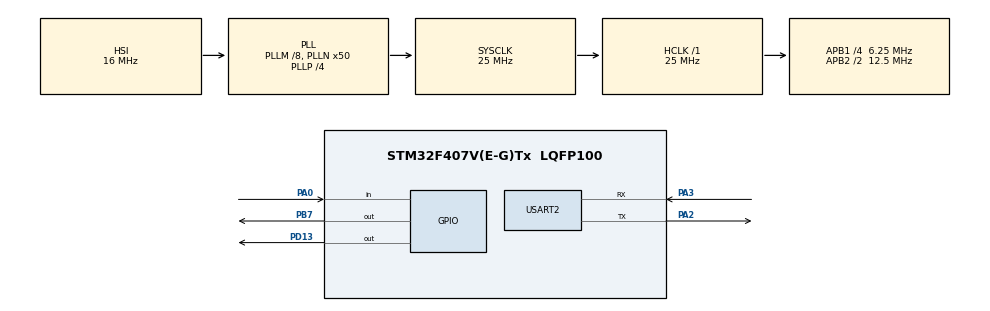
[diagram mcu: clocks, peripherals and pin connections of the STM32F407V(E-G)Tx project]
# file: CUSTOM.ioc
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Mcu.Family=STM32F4
Mcu.Name=STM32F407V(E-G)Tx
Mcu.Package=LQFP100
NVIC.PriorityGroup=NVIC_PRIORITYGROUP_0
PA0-WKUP.Signal=GPIO_Input
PA2.Mode=Asynchronous
PA2.Signal=USART2_TX
PA3.Mode=Asynchronous
PA3.Signal=USART2_RX
PB7.Signal=GPIO_Output
PD13.Signal=GPIO_Output
ProjectManager.HeapSize=0x200
ProjectManager.StackSize=0x400
ProjectManager.TargetToolchain=STM32CubeIDE
RCC.48MHZClocksFreq_Value=14285714.285714285
RCC.AHBFreq_Value=25000000
RCC.APB1CLKDivider=RCC_HCLK_DIV4
RCC.APB1Freq_Value=6250000
RCC.APB1TimFreq_Value=12500000
RCC.APB2CLKDivider=RCC_HCLK_DIV2
RCC.APB2Freq_Value=12500000
RCC.APB2TimFreq_Value=25000000
RCC.CortexFreq_Value=25000000
RCC.HCLKFreq_Value=25000000
RCC.HSE_VALUE=8000000
RCC.HSI_VALUE=16000000
RCC.LSE_VALUE=32768
RCC.PLLM=8
RCC.PLLN=50
RCC.PLLP=RCC_PLLP_DIV4
RCC.PLLQ=7
RCC.SYSCLKFreq_VALUE=25000000
RCC.SYSCLKSource=RCC_SYSCLKSOURCE_PLLCLK
RCC.VCOOutputFreq_Value=100000000
USART2.VirtualMode=VM_ASYNC
board=STM32F407G-DISC1

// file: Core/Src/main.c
/* USER CODE BEGIN Header */
/**
  ******************************************************************************
  * @file           : main.c
  * @brief          : Main program body
  ******************************************************************************
  * @attention
  *
  * Copyright (c) 2026 STMicroelectronics.
  * All rights reserved.
  *
  * This software is licensed under terms that can be found in the LICENSE file
  * in the root directory of this software component.
  * If no LICENSE file comes with this software, it is provided AS-IS.
  *
  ******************************************************************************
  */
/* USER CODE END Header */
#include "main.h"
#include "usart.h"
#include "gpio.h"
#include "aes.h"
#include <string.h>

/* USER CODE BEGIN Includes */

// Python tarafındaki KEY ve IV ile birebir aynı olmalı!

#define ACK  0x06
#define NACK 0x15
#define APP_ADDRESS 0x08008000
#define PACKET_SIZE 128
/* USER CODE END Includes */

/* USER CODE BEGIN PTD */
// Tırnak yerine süslü parantez kullanarak null-terminator riskini yok et
/* main.c içinde - Tırnak kullanmadan ham byte olarak tanımlayalım */
// main.c içinde
uint8_t AES_KEY[32] = {
    0x31, 0x32, 0x33, 0x34, 0x35, 0x36, 0x37, 0x38, 0x39, 0x30, // 1234567890
    0x31, 0x32, 0x33, 0x34, 0x35, 0x36, 0x37, 0x38, 0x39, 0x30, // 1234567890
    0x31, 0x32, 0x33, 0x34, 0x35, 0x36, 0x37, 0x38, 0x39, 0x30, // 1234567890
    0x31, 0x32  // 12
};

uint8_t AES_IV[16] = {
    0x61, 0x62, 0x63, 0x64, 0x65, 0x66, 0x67, 0x68, // abcdefgh
    0x69, 0x6a, 0x6b, 0x6c, 0x6d, 0x6e, 0x6f, 0x70  // ijklmnop
};
/* USER CODE END PTD */

/* USER CODE BEGIN PD */
void Bootloader_Menu(void);
void Bootloader_Handle_Secure_Write(void);
void Flash_Erase_Application(void);
void jump_to_application(void);
uint16_t Compute_CRC16(uint8_t *data, uint16_t length);
/* USER CODE END PD */

void SystemClock_Config(void);
/* USER CODE BEGIN PFP */

uint16_t Compute_CRC16(uint8_t *data, uint16_t length);

/* USER CODE END PFP */

/* USER CODE BEGIN 0 */
/* --- BOOTLOADER MANTIĞI --- */
void Bootloader_Menu(void) {
    uint8_t rx_byte;
    char *msg = "\r\n--- STM32 Bootloader Beklemede ---\r\n'W' tuşuna basarak yazılımı gönderin...\r\n";

    HAL_GPIO_WritePin(GPIOB, GPIO_PIN_7, GPIO_PIN_SET); // Turuncu LED: Bootloader Aktif
    HAL_UART_Transmit(&huart2, (uint8_t*)msg, strlen(msg), 100);

    while(1) {
        if (HAL_UART_Receive(&huart2, &rx_byte, 1, HAL_MAX_DELAY) == HAL_OK) {
        	/* main.c - Bootloader_Menu Fonksiyonu İçinde */
        	if (rx_byte == 'W' || rx_byte == 'w') {
        	    // ESKİ: Bootloader_Handle_Write(); -> Bunu sil
        	    Bootloader_Handle_Secure_Write(); // YENİ: Güvenli versiyonu çağır
        	}
            }
        }
    }

/* --- FLASH SİLME FONKSİYONU --- */
void Flash_Erase_Application(void) {
    HAL_FLASH_Unlock();
    FLASH_EraseInitTypeDef EraseInitStruct;
    uint32_t SectorError;

    EraseInitStruct.TypeErase = FLASH_TYPEERASE_SECTORS;
    EraseInitStruct.VoltageRange = FLASH_VOLTAGE_RANGE_3;
    EraseInitStruct.Sector = FLASH_SECTOR_2; // Sektör 2 (0x08008000)
    EraseInitStruct.NbSectors = 6;           // Uygulama alanını kapsayan sektörleri sil

    if (HAL_FLASHEx_Erase(&EraseInitStruct, &SectorError) != HAL_OK) {
        // Hata durumunda NACK gönderilebilir
    }
    HAL_FLASH_Lock();
}
/**
 * @brief AES-256 Şifreli ve CRC-16 Korumalı Yazılım Güncelleme
 * Bu fonksiyon her paketi çözer, doğrular ve Flash belleğe yazar.
 */
void Bootloader_Handle_Secure_Write(void) {
    uint8_t rx_buffer[130];        // 128 Byte Şifreli Veri + 2 Byte CRC
    uint32_t current_addr = APP_ADDRESS; // 0x08008000
    struct AES_ctx ctx;
    uint8_t ack = ACK;             // 0x06
    uint8_t nack = NACK;           // 0x15

    // 1. ADIM: Uygulama alanını temizle
    Flash_Erase_Application();

    // 2. ADIM: Python'a "Hazırım, gönder" onayı ver
    HAL_UART_Transmit(&huart2, &ack, 1, 10);

    while(1) {
        // 3. ADIM: Paketi bekle (Timeout süresini 10sn yaparak senkronizasyonu koru)
        HAL_StatusTypeDef status = HAL_UART_Receive(&huart2, rx_buffer, 130, 10000);

        if (status == HAL_OK) {
            // 4. ADIM: CRC-16 Kontrolü (Veri yolda bozuldu mu?)
            uint16_t received_crc = *(uint16_t*)(&rx_buffer[128]);
            if (Compute_CRC16(rx_buffer, 128) != received_crc) {
                HAL_UART_Transmit(&huart2, &nack, 1, 10);
                continue; // Paketi tekrar bekle
            }

            // 5. ADIM: AES-256 Şifre Çözme (CBC Modu)
            // Her paket başında IV resetleyerek Python ile senkron kalınır.
            AES_init_ctx_iv(&ctx, AES_KEY, AES_IV);
            AES_CBC_decrypt_buffer(&ctx, rx_buffer, 128);

            // 6. ADIM: MSP Doğrulaması (Sadece ilk paket için)
            if (current_addr == APP_ADDRESS) {
                uint32_t msp_val = *(uint32_t*)rx_buffer;
                // STM32F4 için MSP 0x2000xxxx (RAM) olmalıdır
                if ((msp_val & 0xFFF00000) != 0x20000000) {
                    // Teşhis için ilk 4 byte'ı geri gönder ve işlemi bitir
                    HAL_UART_Transmit(&huart2, rx_buffer, 4, 100);
                    HAL_UART_Transmit(&huart2, &nack, 1, 10);
                    return;
                }
            }

            // 7. ADIM: Flash Belleğe Yazma (4'er byte - Word)
            HAL_FLASH_Unlock();
            for (int i = 0; i < 128; i += 4) {
                uint32_t data = *(uint32_t*)(&rx_buffer[i]);
                if (HAL_FLASH_Program(FLASH_TYPEPROGRAM_WORD, current_addr, data) == HAL_OK) {
                    current_addr += 4;
                }
            }
            HAL_FLASH_Lock();

            // 8. ADIM: Onay (ACK) gönder ve sonraki pakete geç
            HAL_UART_Transmit(&huart2, &ack, 1, 10);
        }
        else if (status == HAL_TIMEOUT) {
            // Veri akışı bitti, uygulamaya zıpla
            jump_to_application();
            break;
        }
    }
}
/* --- UART VERİ ALMA VE FLASH'A YAZMA --- */

/* --- UYGULAMAYA ZIPLAMA (JUMP) --- */
void jump_to_application(void) {
    uint32_t jump_addr = *(uint32_t*)(APP_ADDRESS + 4);
    void (*app_reset_handler)(void) = (void (*)(void))jump_addr;

    __disable_irq(); // Kesmeleri kapat
    HAL_RCC_DeInit();
    HAL_DeInit();
    SysTick->CTRL = 0;

    __set_MSP(*(uint32_t*)APP_ADDRESS); // MSP ayarla
    app_reset_handler(); // Uygulama başlasın!
}

typedef struct {
    uint8_t  sof;        // Start of Frame (0xAA)
    uint8_t  command;    // Komut tipi
    uint16_t length;     // Veri uzunluğu
    uint8_t  data[1024]; // Veri (Maksimum 1KB)
    uint32_t crc;        // Hata kontrolü
} Bootloader_Packet_t;

/* USER CODE END 0 */

int main(void)
{

  /* USER CODE BEGIN 1 */
	    HAL_Init();
	    SystemClock_Config();
	    MX_GPIO_Init();
	    MX_USART2_UART_Init();
	    SCB->VTOR = 0x08000000;
  /* USER CODE END 1 */

  /* MCU Configuration--------------------------------------------------------*/

  /* Reset of all peripherals, Initializes the Flash interface and the Systick. */
  HAL_Init();

  /* USER CODE BEGIN Init */

  // Mavi butona basılıyor mu? (Discovery kartında genelde GPIO_PIN_0)
  if (HAL_GPIO_ReadPin(GPIOA, GPIO_PIN_0) == GPIO_PIN_SET)
  {
      // Butona basılıyor: Bootloader'da kal!
      // Burada örneğin Turuncu LED'i yak ve UART ile yeni kod bekleyen fonksiyonu çağır
      Bootloader_Menu();
  }
  else
  {
      // Butona basılmıyor: Direkt uygulamaya git!
      jump_to_application();
  }
  /* USER CODE END Init */

  /* Configure the system clock */
  SystemClock_Config();

  /* Initialize all configured peripherals */
  MX_GPIO_Init();
  MX_USART2_UART_Init();

  /* Infinite loop */
  while (1)
  {

  }
}

void SystemClock_Config(void)
{
  RCC_OscInitTypeDef RCC_OscInitStruct = {0};
  RCC_ClkInitTypeDef RCC_ClkInitStruct = {0};

  /** Configure the main internal regulator output voltage
  */
  __HAL_RCC_PWR_CLK_ENABLE();
  __HAL_PWR_VOLTAGESCALING_CONFIG(PWR_REGULATOR_VOLTAGE_SCALE1);

  /** Initializes the RCC Oscillators according to the specified parameters
  * in the RCC_OscInitTypeDef structure.
  */
  RCC_OscInitStruct.OscillatorType = RCC_OSCILLATORTYPE_HSI;
  RCC_OscInitStruct.HSIState = RCC_HSI_ON;
  RCC_OscInitStruct.HSICalibrationValue = RCC_HSICALIBRATION_DEFAULT;
  RCC_OscInitStruct.PLL.PLLState = RCC_PLL_ON;
  RCC_OscInitStruct.PLL.PLLSource = RCC_PLLSOURCE_HSI;
  RCC_OscInitStruct.PLL.PLLM = 8;
  RCC_OscInitStruct.PLL.PLLN = 50;
  RCC_OscInitStruct.PLL.PLLP = RCC_PLLP_DIV4;
  RCC_OscInitStruct.PLL.PLLQ = 7;
  if (HAL_RCC_OscConfig(&RCC_OscInitStruct) != HAL_OK)
  {
    Error_Handler();
  }

  /** Initializes the CPU, AHB and APB buses clocks
  */
  RCC_ClkInitStruct.ClockType = RCC_CLOCKTYPE_HCLK|RCC_CLOCKTYPE_SYSCLK
                              |RCC_CLOCKTYPE_PCLK1|RCC_CLOCKTYPE_PCLK2;
  RCC_ClkInitStruct.SYSCLKSource = RCC_SYSCLKSOURCE_PLLCLK;
  RCC_ClkInitStruct.AHBCLKDivider = RCC_SYSCLK_DIV1;
  RCC_ClkInitStruct.APB1CLKDivider = RCC_HCLK_DIV4;
  RCC_ClkInitStruct.APB2CLKDivider = RCC_HCLK_DIV2;

  if (HAL_RCC_ClockConfig(&RCC_ClkInitStruct, FLASH_LATENCY_0) != HAL_OK)
  {
    Error_Handler();
  }
}

/* USER CODE BEGIN 4 */
uint16_t Compute_CRC16(uint8_t *data, uint16_t length) {
    uint16_t crc = 0xFFFF; // Başlangıç değeri

    for (uint16_t i = 0; i < length; i++) {
        crc ^= (uint16_t)data[i]; // Mevcut byte'ı CRC ile XOR'la

        for (uint8_t j = 0; j < 8; j++) {
            if (crc & 0x0001) {
                crc = (crc >> 1) ^ 0xA001; // En önemsiz bit 1 ise polinomla XOR'la
            } else {
                crc >>= 1; // Değilse sadece sağa kaydır
            }
        }
    }
    return crc;
}
/* USER CODE END 4 */

void Error_Handler(void)
{
  __disable_irq();
  while (1)
  {
  }
}
